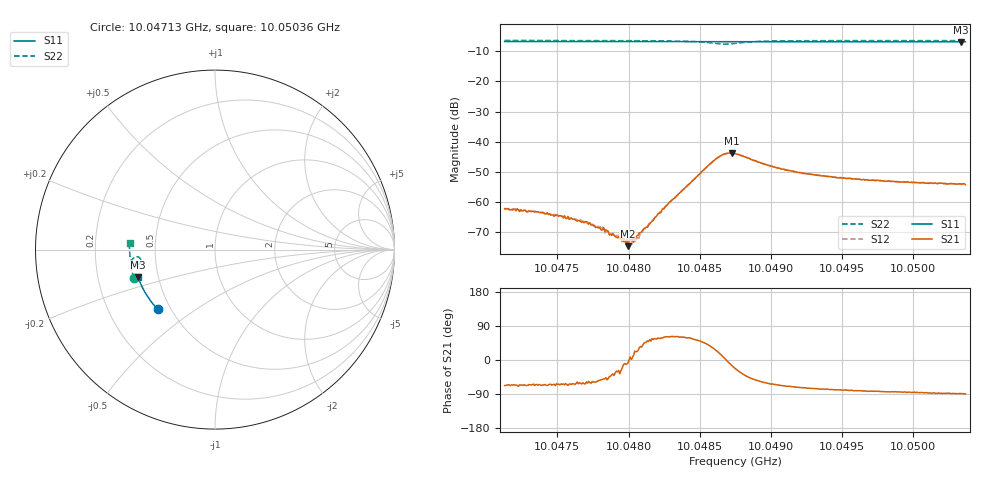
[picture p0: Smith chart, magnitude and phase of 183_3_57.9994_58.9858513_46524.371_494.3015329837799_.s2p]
#  HZ  S  RI  R  50.00
! Rohde & Schwarz Vector Network Analyzer
! Rohde-Schwarz,ZNB20-2Port,1311601062101988,3.16
! Created: UTC 3/21/2024, 12:58:25 AM
! freq[Hz]  re:S11  im:S11  re:S21  im:S21  re:S12  im:S12  re:S22  im:S22
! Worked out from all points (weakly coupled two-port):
!   401 points, 10.04713 GHz to 10.05036 GHz, reference 50 ohm
!   highest |S21| = -43.77 dB at 10.04872 GHz (marker M1); lowest = -74.7 dB at 10.04799 GHz (marker M2)
!   lowest |S11| = -6.8 dB at 10.05033 GHz (marker M3), VSWR 2.67, Z = 19.2 - j7.4 ohm
!   |S11| at or under -10 dB: nowhere
!   |S22| runs from -7.6 to -6.4 dB; largest |S21 - S12| = 0.00044
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1.0047129e10  -0.3192 -0.3318  0.000298 -0.000716  0.000348 -0.00068  -0.4522 -0.1586
1.004738e10  -0.3307 -0.3197  0.000275 -0.000613  0.000304 -0.000586  -0.457 -0.1419
1.0047671e10  -0.3434 -0.3051  0.000208 -0.00041  0.000253 -0.000402  -0.4621 -0.1214
1.0047728e10  -0.3457 -0.3022  0.00023 -0.000392  0.000269 -0.000369  -0.463 -0.1174
1.0047841e10  -0.3504 -0.2963  0.000235 -0.000252  0.000234 -0.000223  -0.4644 -0.1091
1.004793e10  -0.354 -0.2917  0.000237 -0.000125  0.000254 -0.000114  -0.4652 -0.1021
1.0047962e10  -0.3553 -0.2898  0.000214 -5.12e-05  0.000243 -3.98e-05  -0.4657 -0.0995
1.0047979e10  -0.3559 -0.2891  0.000205 -3.84e-05  0.000233 -2.1e-05  -0.4658 -0.0982
1.0047995e10  -0.3567 -0.2883  0.000183 -2.59e-05  0.000218 1.64e-05  -0.466 -0.0969
1.0048035e10  -0.3582 -0.2861  0.000209 4.72e-05  0.000226 9.85e-05  -0.4661 -0.0934
1.0048059e10  -0.3591 -0.2847  0.000254 0.000105  0.000224 0.000123  -0.4664 -0.0914
1.00481e10  -0.3607 -0.2827  0.000266 0.000218  0.000247 0.000209  -0.4665 -0.088
1.0048213e10  -0.3653 -0.2765  0.00035 0.000545  0.000311 0.000573  -0.4664 -0.0775
1.0048601e10  -0.3792 -0.2552  0.00427 0.00239  0.00417 0.00266  -0.4286 -0.0404
1.0048666e10  -0.3812 -0.2516  0.0061 0.000798  0.00606 0.00114  -0.4139 -0.0545
1.0048723e10  -0.3831 -0.2488  0.00629 -0.00156  0.00639 -0.00118  -0.4159 -0.0737
1.0048747e10  -0.3839 -0.2474  0.00588 -0.00239  0.00602 -0.00202  -0.4211 -0.0796
1.0049038e10  -0.3939 -0.231  0.00155 -0.00335  0.00174 -0.0033  -0.4659 -0.0638
1.0049289e10  -0.4019 -0.2164  0.00074 -0.00277  0.000899 -0.00274  -0.4735 -0.0401
1.0049831e10  -0.4167 -0.1839  0.000235 -0.00222  0.000345 -0.00219  -0.4766 0.00137
1.0050332e10  -0.4282 -0.1527  4.72e-05 -0.00198  0.000169 -0.00199  -0.4752 0.0364
1.0050365e10  -0.4288 -0.1509  2.41e-05 -0.00194  0.000132 -0.00199  -0.4751 0.0386
